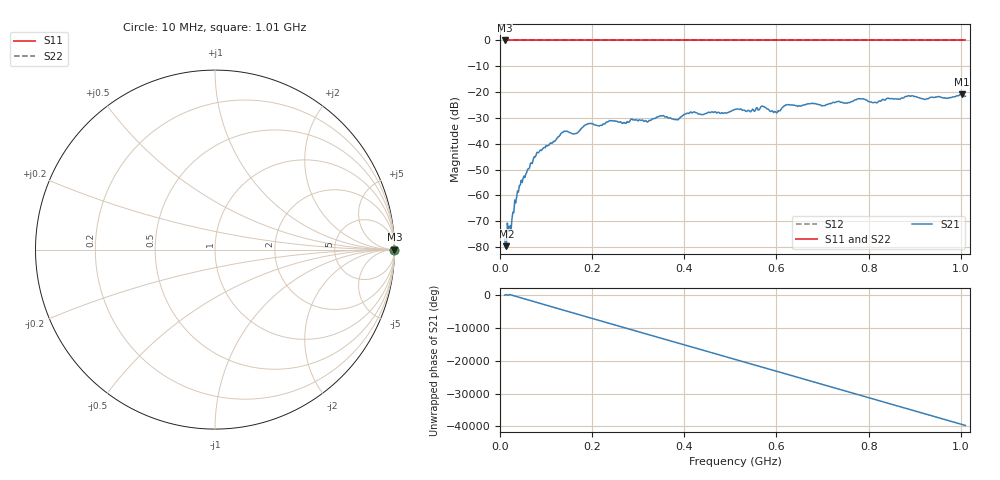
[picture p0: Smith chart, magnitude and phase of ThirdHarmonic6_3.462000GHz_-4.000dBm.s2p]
! 8/17/2025 11:12:38 AM
! C:\ANRITSUVNA\TEMP\TEMP.S2P
! CHANNEL.1
! TR.MEASUREMENT
! RAW.DATA
! RF.CORRECTION.OFF
! AVERAGING.OFF
! IF.BANDWIDTH: 5KHZ
! SWEEPTYPE:  FREQ.SWEEP(Linear)
! Reference Plane Port Info
! PORT:  PORT1  PORT2
! DISTANCE:  0  m  0  m
! TIME:  0  s  0  s
! PHASE.OFFSET:  0  deg.  0  deg.
! LOSS:  0  dB  0  dB
! REF.LOSS:  0  dB  0  dB
! REF.FREQ:  0  Hz  0  Hz
! Power Info
! POWER:  -20  dBm  -20  dBm
! EFF.POWER:  -20  dBm  -20  dBm
! SOURCE.ATTEN:  0  dB  0  dB
! TEST.ATTEN:  0  dB  0  dB
# GHZ S RI R 50.0
! FREQ.GHZ  S11RE  S11IM  S21RE  S21IM  S12RE  S12IM  S22RE  S22IM
!; PortSelection: Port_12
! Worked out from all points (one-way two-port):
!   501 points, 10 MHz to 1.01 GHz, reference 50 ohm
!   highest |S21| = -20.91 dB at 1.002 GHz (marker M1); lowest = -79.6 dB at 14 MHz (marker M2)
!   lowest |S11| = 0.0 dB at 10 MHz (marker M3)
!   |S11| at or under -10 dB: nowhere
!   |S22| runs from 0.0 to 0.0 dB; largest |S21 - S12| = 1.1
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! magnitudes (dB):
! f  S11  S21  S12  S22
! 10 MHz  0.0  -76.9  0.0  0.0
! 14 MHz  0.0  -79.6  0.0  0.0
! 26 MHz  0.0  -69.0  0.0  0.0
! 42 MHz  0.0  -56.2  0.0  0.0
! 78 MHz  0.0  -44.5  0.0  0.0
! 136 MHz  0.0  -35.6  0.0  0.0
! 164 MHz  0.0  -36.1  0.0  0.0
! 178 MHz  0.0  -33.8  0.0  0.0
! 344 MHz  0.0  -29.6  0.0  0.0
! 382 MHz  0.0  -30.7  0.0  0.0
! 418 MHz  0.0  -28.0  0.0  0.0
! 510 MHz  0.0  -26.7  0.0  0.0
! 570 MHz  0.0  -25.4  0.0  0.0
! 598 MHz  0.0  -27.6  0.0  0.0
! 622 MHz  0.0  -24.9  0.0  0.0
! 678 MHz  0.0  -24.3  0.0  0.0
! 702 MHz  0.0  -25.2  0.0  0.0
! 780 MHz  0.0  -22.5  0.0  0.0
! 814 MHz  0.0  -24.0  0.0  0.0
! 844 MHz  0.0  -22.5  0.0  0.0
! 1.002 GHz  0.0  -20.9  0.0  0.0
! 1.01 GHz  0.0  -21.6  0.0  0.0
